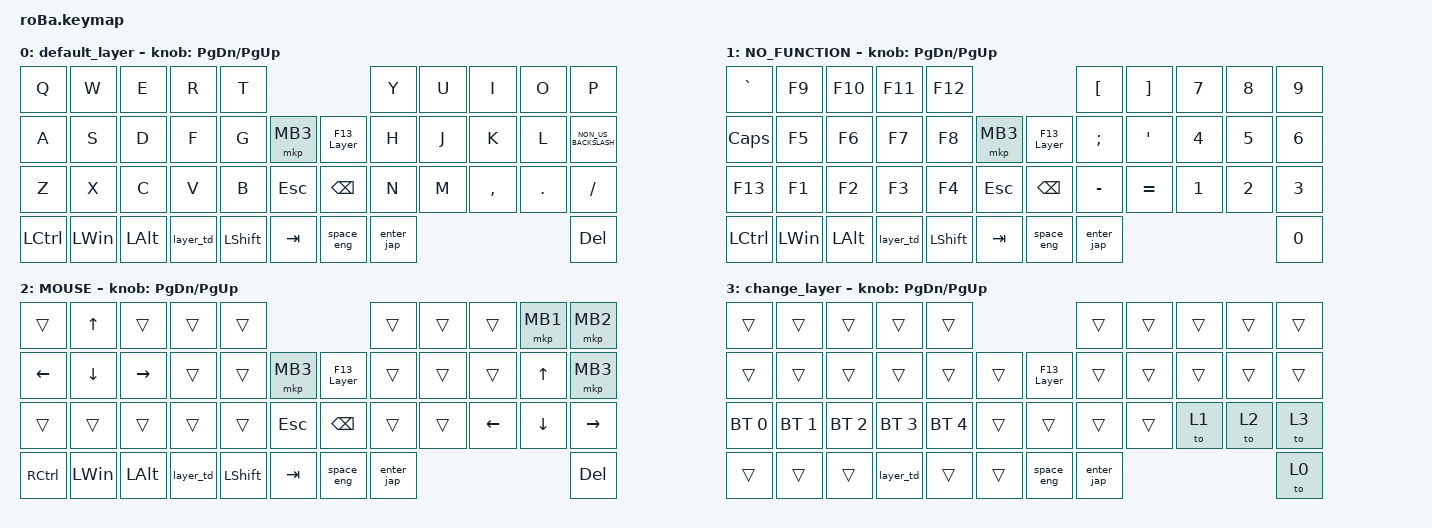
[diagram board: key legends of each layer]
#include <behaviors.dtsi>
#include <dt-bindings/zmk/bt.h>
#include <dt-bindings/zmk/keys.h>
#include <dt-bindings/zmk/pointing.h>

&mt {
    flavor = "balanced";
    quick-tap-ms = <0>;
};

&trackball {
    automouse-layer = <2>;
    scroll-layers = <4>;

    // arrows {
    //     layers = <3>;
    //     bindings =
    //         <&kp RIGHT_ARROW>,
    //         <&kp LEFT_ARROW>,
    //         <&kp UP_ARROW>,
    //         <&kp DOWN_ARROW>;
    //     tick = <10>;
    //     wait-ms = <5>;
    //     tap-ms = <5>;
    // };
};

/ {
    combos { compatible = "zmk,combos"; };

    behaviors {
        layer_td: layer_td {
            compatible = "zmk,behavior-tap-dance";
            label = "LAYER_TD";
            #binding-cells = <0>;
            bindings = <&to 0>, <&to 1>, <&to 2>, <&to 3>;
        };

        space_eng: space_eng {
            compatible = "zmk,behavior-tap-dance";
            label = "SPACE_ENG";
            #binding-cells = <0>;
            bindings = <&kp SPACE>, <&kp SPACE>, <&kp LANGUAGE_2>;
        };

        enter_jap: enter_jap {
            compatible = "zmk,behavior-tap-dance";
            label = "ENTER_JAP";
            #binding-cells = <0>;
            bindings = <&kp ENTER>, <&kp ENTER>, <&kp LANGUAGE_1>;
        };

        F13_Layer: F13_Layer {
            compatible = "zmk,behavior-tap-dance";
            label = "F13_LAYER";
            #binding-cells = <0>;
            bindings = <&kp F13>, <&to 0>, <&to 1>;
        };
    };

    keymap {
        compatible = "zmk,keymap";

        default_layer {
            bindings = <
&kp Q      &kp W         &kp E         &kp R      &kp T                                          &kp Y       &kp U  &kp I      &kp O    &kp P
&kp A      &kp S         &kp D         &kp F      &kp G           &mkp MB3        &F13_Layer     &kp H       &kp J  &kp K      &kp L    &kp NON_US_BACKSLASH
&kp Z      &kp X         &kp C         &kp V      &kp B           &kp ESCAPE      &kp BACKSPACE  &kp N       &kp M  &kp COMMA  &kp DOT  &kp SLASH
&kp LCTRL  &kp LEFT_WIN  &kp LEFT_ALT  &layer_td  &kp LEFT_SHIFT  &kp TAB         &space_eng     &enter_jap                             &kp DEL
            >;

            sensor-bindings = <&inc_dec_kp PAGE_DOWN PAGE_UP>;
        };

        NO_FUNCTION {
            bindings = <
&kp GRAVE  &kp F9        &kp F10       &kp F11    &kp F12                                        &kp LEFT_BRACKET  &kp RIGHT_BRACKET  &kp NUMBER_7  &kp NUMBER_8  &kp NUMBER_9
&kp CAPS   &kp F5        &kp F6        &kp F7     &kp F8          &mkp MB3        &F13_Layer     &kp SEMICOLON     &kp SQT            &kp NUMBER_4  &kp NUMBER_5  &kp NUMBER_6
&kp F13    &kp F1        &kp F2        &kp F3     &kp F4          &kp ESCAPE      &kp BACKSPACE  &kp MINUS         &kp EQUAL          &kp NUMBER_1  &kp NUMBER_2  &kp NUMBER_3
&kp LCTRL  &kp LEFT_WIN  &kp LEFT_ALT  &layer_td  &kp LEFT_SHIFT  &kp TAB         &space_eng     &enter_jap                                                       &kp NUMBER_0
            >;

            sensor-bindings = <&inc_dec_kp PAGE_DOWN PAGE_UP>;
        };

        MOUSE {
            bindings = <
&trans          &kp UP_ARROW    &trans           &trans     &trans                                         &trans      &trans  &trans    &mkp MB1        &mkp MB2
&kp LEFT_ARROW  &kp DOWN_ARROW  &kp RIGHT_ARROW  &trans     &trans          &mkp MB3        &F13_Layer     &trans      &trans  &trans    &kp UP_ARROW    &mkp MB3
&trans          &trans          &trans           &trans     &trans          &kp ESCAPE      &kp BACKSPACE  &trans      &trans  &kp LEFT  &kp DOWN_ARROW  &kp RIGHT
&kp RCTRL       &kp LEFT_WIN    &kp LEFT_ALT     &layer_td  &kp LEFT_SHIFT  &kp TAB         &space_eng     &enter_jap                                    &kp DELETE
            >;

            sensor-bindings = <&inc_dec_kp PAGE_DOWN PAGE_UP>;
        };

        change_layer {
            bindings = <
&trans        &trans        &trans        &trans        &trans                                &trans      &trans  &trans  &trans  &trans
&trans        &trans        &trans        &trans        &trans        &trans      &F13_Layer  &trans      &trans  &trans  &trans  &trans
&bt BT_SEL 0  &bt BT_SEL 1  &bt BT_SEL 2  &bt BT_SEL 3  &bt BT_SEL 4  &trans      &trans      &trans      &trans  &to 1   &to 2   &to 3
&trans        &trans        &trans        &layer_td     &trans        &trans      &space_eng  &enter_jap                          &to 0
            >;

            sensor-bindings = <&inc_dec_kp PAGE_DOWN PAGE_UP>;
        };
    };
};
